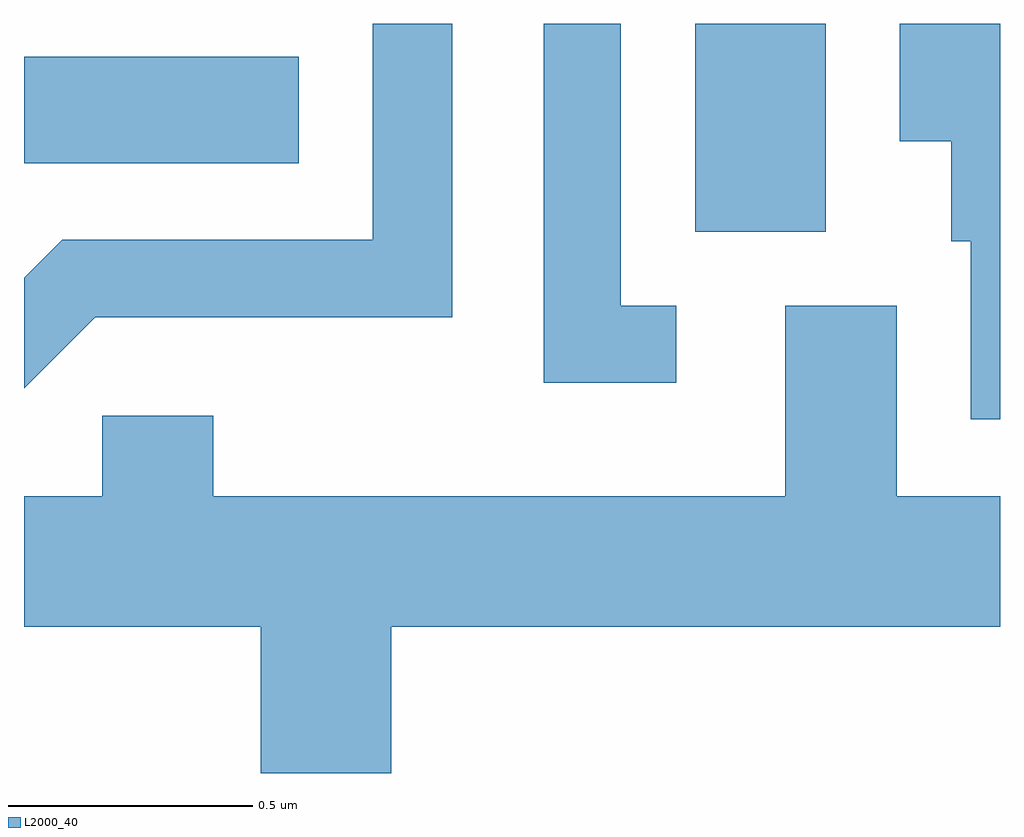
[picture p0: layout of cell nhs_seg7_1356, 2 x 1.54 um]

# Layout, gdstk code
import gdstk
lib = gdstk.Library(unit=1e-6, precision=1e-09)
def R(c, l, rs):  # rectangles x0, y0, x1, y1
    for r in rs: c.add(gdstk.rectangle(r[:2], r[2:], *l))
def P(c, l, *ps):  # polygons
    for p in ps: c.add(gdstk.Polygon(p, *l))
L2000_40 = (2000, 40)

nhs_seg7_1356 = lib.new_cell('nhs_seg7_1356')
R(nhs_seg7_1356, L2000_40, [(195.986,1792.826,196.254,1793.252), (194.611,1792.966,195.174,1793.184)])
P(nhs_seg7_1356, L2000_40, [(196.611,1793.252),(196.406,1793.252),(196.406,1793.011),(196.511,1793.011),(196.511,1792.806),(196.551,1792.806),(196.551,1792.441),(196.611,1792.441)],
  [(194.757,1792.651),(195.489,1792.651),(195.489,1793.252),(195.326,1793.252),(195.326,1792.809),(194.689,1792.809),(194.611,1792.731),(194.611,1792.505)],
  [(195.948,1792.674),(195.834,1792.674),(195.834,1793.252),(195.676,1793.252),(195.676,1792.516),(195.948,1792.516)],
  [(195.364,1792.016),(196.611,1792.016),(196.611,1792.284),(196.399,1792.284),(196.399,1792.674),(196.171,1792.674),(196.171,1792.284),(194.999,1792.284),(194.999,1792.449),(194.771,1792.449),(194.771,1792.284),(194.611,1792.284),(194.611,1792.016),(195.096,1792.016),(195.096,1791.716),(195.364,1791.716)])

lib.write_gds('nhs_seg7_1356.gds')
